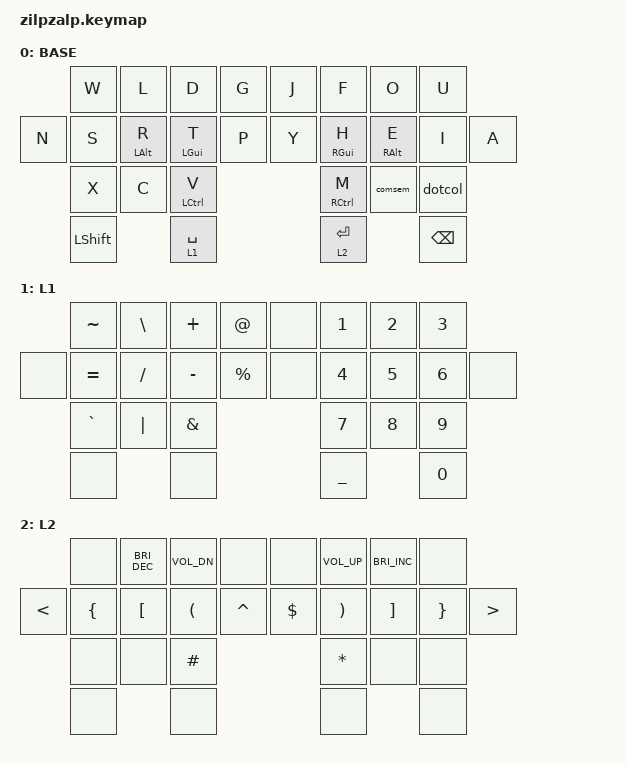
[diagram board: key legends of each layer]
//     __________________________  __________________________
//    /     0  |  1  |  2  |  3  \/   4 |   5 |   6 |   7    \
// |  8  |  9  | 10  | 11  | 12  /\  13 |  14 |  15 |  16 | 17  |
//    \    18  | 19  | 20    /        \    21 |  22 |  23   /
//          \    24  | 25  /            \  26 |  27    /
//           --------------              --------------

#ifdef ZILPZALP_BLE_FLAG
#include <dt-bindings/zmk/bt.h>
#include <dt-bindings/zmk/outputs.h>
#endif
#include "base_zilpzalp.h"

/ {
    keymap {
        compatible = "zmk,keymap";
        middlemak_nh {
            label = "BASE";
            bindings = <
                      &kp W &kp L      &kp D       &kp G  &kp J &kp F       &kp O      &kp U
                &kp N &kp S &ht LALT R &ht LGUI T  &kp P  &kp Y &ht RGUI H  &ht RALT E &kp I   &kp A
                      &kp X &kp C      &ht LCTRL V              &ht RCTRL M &comsem    &dotcol
                      &kp LSHFT        &lt L1 SPACE             &lt L2 ENTER           &kp BKSP
            >;
        };
        layer1 {
            label = "L1";
            bindings = <
                      &kp TILDE &kp BSLH &kp PLUS  &kp AT       &none &kp N1 &kp N2 &kp N3
                &none &kp EQUAL &kp FSLH &kp MINUS &kp PRCNT    &none &kp N4 &kp N5 &kp N6 &none
                      &kp GRAVE &kp PIPE &kp AMPS                     &kp N7 &kp N8 &kp N9
                                &none              &none        &kp UNDER    &kp N0
            >;
        };
        layer2 {
            label = "L2";
            bindings = <
                       &none    &kp C_BRI_DEC &kp C_VOL_DN &none       &none    &kp C_VOL_UP &kp C_BRI_INC &none
                &kp LT &kp LBRC &kp LBKT      &kp LPAR     &kp CARET   &kp DLLR &kp RPAR     &kp RBKT      &kp RBRC &kp GT
                       &none    &none         &kp HASH                          &kp STAR     &none         &none
                                &none                      &none       &none                 &none
            >;
        };
    };
};
